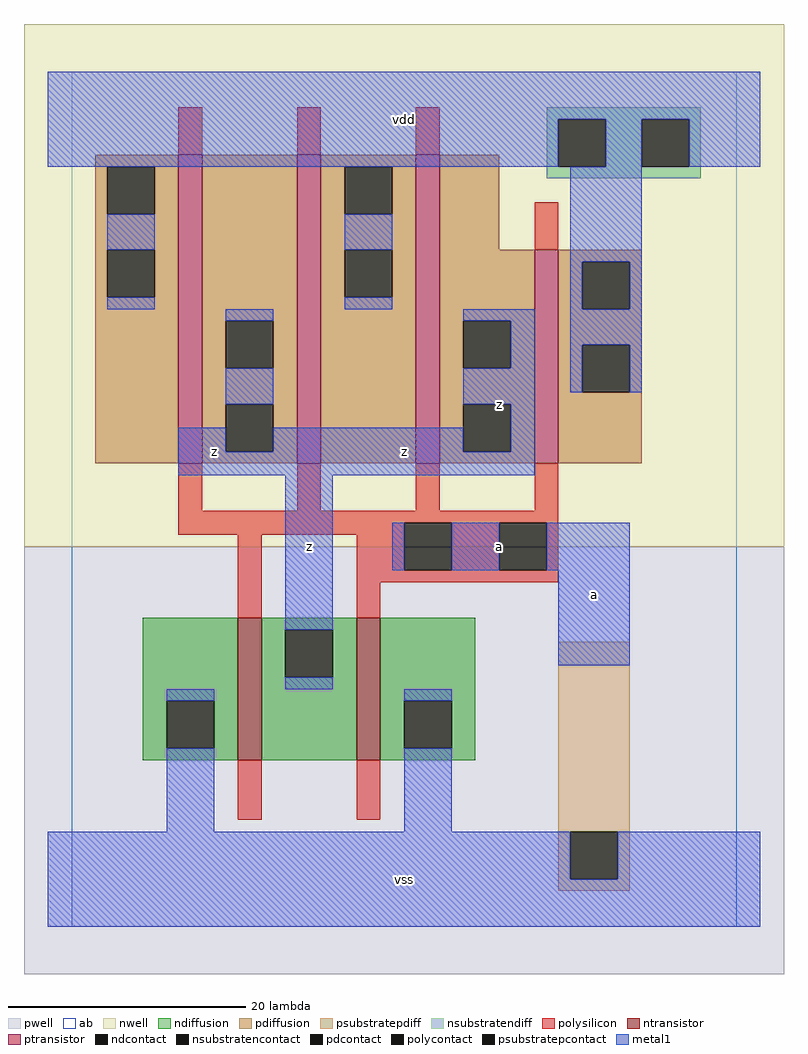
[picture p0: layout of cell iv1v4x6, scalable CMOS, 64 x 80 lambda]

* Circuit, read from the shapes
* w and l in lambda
.subckt iv1v4x6 a vdd vss z
M1 z a vss vss nfet w=12 l=2 m=2
M2 z a vdd vdd pfet w=26 l=2 m=3
M3 vdd a z vdd pfet w=18 l=2
.ends

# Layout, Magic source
magic
tech scmos
<< ab >>
rect 0 0 56 72
<< pwell >>
rect -4 -4 60 32
<< nwell >>
rect -4 32 60 76
<< polysilicon >>
rect 9 65 11 69
rect 19 65 21 69
rect 29 65 31 69
rect 39 57 41 61
rect 9 35 11 39
rect 19 35 21 39
rect 29 35 31 39
rect 39 35 41 39
rect 9 34 41 35
rect 9 33 28 34
rect 14 26 16 33
rect 24 30 28 33
rect 32 30 36 34
rect 40 30 41 34
rect 24 29 41 30
rect 24 26 26 29
rect 14 9 16 14
rect 24 9 26 14
<< ndiffusion >>
rect 6 19 14 26
rect 6 15 8 19
rect 12 15 14 19
rect 6 14 14 15
rect 16 25 24 26
rect 16 21 18 25
rect 22 21 24 25
rect 16 14 24 21
rect 26 19 34 26
rect 26 15 28 19
rect 32 15 34 19
rect 26 14 34 15
<< pdiffusion >>
rect 2 64 9 65
rect 2 60 3 64
rect 7 60 9 64
rect 2 57 9 60
rect 2 53 3 57
rect 7 53 9 57
rect 2 39 9 53
rect 11 51 19 65
rect 11 47 13 51
rect 17 47 19 51
rect 11 44 19 47
rect 11 40 13 44
rect 17 40 19 44
rect 11 39 19 40
rect 21 64 29 65
rect 21 60 23 64
rect 27 60 29 64
rect 21 57 29 60
rect 21 53 23 57
rect 27 53 29 57
rect 21 39 29 53
rect 31 57 36 65
rect 31 51 39 57
rect 31 47 33 51
rect 37 47 39 51
rect 31 44 39 47
rect 31 40 33 44
rect 37 40 39 44
rect 31 39 39 40
rect 41 56 48 57
rect 41 52 43 56
rect 47 52 48 56
rect 41 49 48 52
rect 41 45 43 49
rect 47 45 48 49
rect 41 39 48 45
<< metal1 >>
rect -2 68 58 72
rect -2 64 41 68
rect 45 64 48 68
rect 52 64 58 68
rect 3 57 7 60
rect 3 52 7 53
rect 23 57 27 60
rect 23 52 27 53
rect 42 56 48 64
rect 42 52 43 56
rect 47 52 48 56
rect 13 51 17 52
rect 13 44 17 47
rect 9 40 13 42
rect 33 51 39 52
rect 37 47 39 51
rect 33 44 39 47
rect 42 49 48 52
rect 42 45 43 49
rect 47 45 48 49
rect 17 40 33 42
rect 37 40 39 44
rect 9 38 39 40
rect 18 25 22 38
rect 27 30 28 34
rect 32 30 36 34
rect 40 30 47 34
rect 41 22 47 30
rect 18 20 22 21
rect 8 19 12 20
rect 8 8 12 15
rect 28 19 32 20
rect 28 8 32 15
rect -2 4 42 8
rect 46 4 58 8
rect -2 0 58 4
<< ntransistor >>
rect 14 14 16 26
rect 24 14 26 26
<< ptransistor >>
rect 9 39 11 65
rect 19 39 21 65
rect 29 39 31 65
rect 39 39 41 57
<< polycontact >>
rect 28 30 32 34
rect 36 30 40 34
<< ndcontact >>
rect 8 15 12 19
rect 18 21 22 25
rect 28 15 32 19
<< pdcontact >>
rect 3 60 7 64
rect 3 53 7 57
rect 13 47 17 51
rect 13 40 17 44
rect 23 60 27 64
rect 23 53 27 57
rect 33 47 37 51
rect 33 40 37 44
rect 43 52 47 56
rect 43 45 47 49
<< psubstratepcontact >>
rect 42 4 46 8
<< nsubstratencontact >>
rect 41 64 45 68
rect 48 64 52 68
<< psubstratepdiff >>
rect 41 8 47 24
rect 41 4 42 8
rect 46 4 47 8
rect 41 3 47 4
<< nsubstratendiff >>
rect 40 68 53 69
rect 40 64 41 68
rect 45 64 48 68
rect 52 64 53 68
rect 40 63 53 64
<< labels >>
rlabel metal1 20 32 20 32 6 z
rlabel metal1 12 40 12 40 6 z
rlabel metal1 28 4 28 4 6 vss
rlabel metal1 36 32 36 32 6 a
rlabel metal1 28 40 28 40 6 z
rlabel metal1 36 44 36 44 6 z
rlabel metal1 28 68 28 68 6 vdd
rlabel metal1 44 28 44 28 6 a
<< end >>
